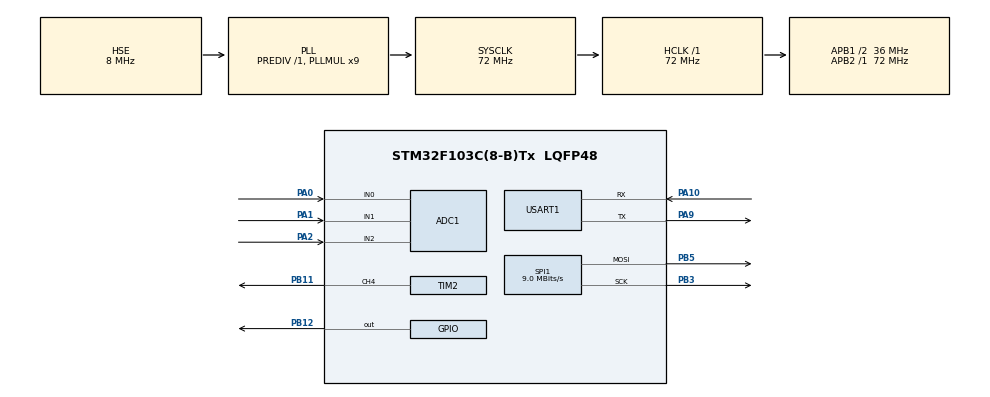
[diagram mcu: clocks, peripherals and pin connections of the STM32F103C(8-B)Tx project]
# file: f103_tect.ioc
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ADC1.Channel-1\#ChannelRegularConversion=ADC_CHANNEL_0
ADC1.Channel-2\#ChannelRegularConversion=ADC_CHANNEL_1
ADC1.Channel-3\#ChannelRegularConversion=ADC_CHANNEL_2
ADC1.Channel-4\#ChannelRegularConversion=ADC_CHANNEL_TEMPSENSOR
ADC1.Channel-5\#ChannelRegularConversion=ADC_CHANNEL_VREFINT
ADC1.ContinuousConvMode=ENABLE
ADC1.NbrOfConversion=5
ADC1.NbrOfConversionFlag=1
ADC1.Rank-1\#ChannelRegularConversion=1
ADC1.Rank-2\#ChannelRegularConversion=2
ADC1.Rank-3\#ChannelRegularConversion=3
ADC1.Rank-4\#ChannelRegularConversion=4
ADC1.Rank-5\#ChannelRegularConversion=5
ADC1.SamplingTime-1\#ChannelRegularConversion=ADC_SAMPLETIME_71CYCLES_5
ADC1.SamplingTime-2\#ChannelRegularConversion=ADC_SAMPLETIME_71CYCLES_5
ADC1.SamplingTime-3\#ChannelRegularConversion=ADC_SAMPLETIME_71CYCLES_5
ADC1.SamplingTime-4\#ChannelRegularConversion=ADC_SAMPLETIME_71CYCLES_5
ADC1.SamplingTime-5\#ChannelRegularConversion=ADC_SAMPLETIME_71CYCLES_5
ADC1.master=1
Dma.ADC1.1.Direction=DMA_PERIPH_TO_MEMORY
Dma.ADC1.1.Instance=DMA1_Channel1
Dma.ADC1.1.MemDataAlignment=DMA_MDATAALIGN_HALFWORD
Dma.ADC1.1.MemInc=DMA_MINC_ENABLE
Dma.ADC1.1.Mode=DMA_CIRCULAR
Dma.ADC1.1.PeriphDataAlignment=DMA_PDATAALIGN_HALFWORD
Dma.ADC1.1.PeriphInc=DMA_PINC_DISABLE
Dma.ADC1.1.Priority=DMA_PRIORITY_LOW
Dma.Request0=USART1_TX
Dma.Request1=ADC1
Dma.USART1_TX.0.Direction=DMA_MEMORY_TO_PERIPH
Dma.USART1_TX.0.Instance=DMA1_Channel4
Dma.USART1_TX.0.MemDataAlignment=DMA_MDATAALIGN_BYTE
Dma.USART1_TX.0.MemInc=DMA_MINC_ENABLE
Dma.USART1_TX.0.Mode=DMA_NORMAL
Dma.USART1_TX.0.PeriphDataAlignment=DMA_PDATAALIGN_BYTE
Dma.USART1_TX.0.PeriphInc=DMA_PINC_DISABLE
Dma.USART1_TX.0.Priority=DMA_PRIORITY_HIGH
Mcu.Family=STM32F1
Mcu.Name=STM32F103C(8-B)Tx
Mcu.Package=LQFP48
NVIC.DMA1_Channel1_IRQn=true\:0\:0\:false\:false\:true\:false\:true\:true
NVIC.DMA1_Channel4_IRQn=true\:0\:0\:false\:false\:true\:false\:true\:true
NVIC.PriorityGroup=NVIC_PRIORITYGROUP_4
NVIC.TIM1_UP_IRQn=true\:0\:0\:false\:false\:true\:true\:true\:true
PA0-WKUP.Signal=ADCx_IN0
PA1.Signal=ADCx_IN1
PA10.Mode=Asynchronous
PA10.Signal=USART1_RX
PA13.Mode=Serial_Wire
PA13.Signal=SYS_JTMS-SWDIO
PA14.Mode=Serial_Wire
PA14.Signal=SYS_JTCK-SWCLK
PA2.Signal=ADCx_IN2
PA9.Mode=Asynchronous
PA9.Signal=USART1_TX
PB11.Signal=S_TIM2_CH4
PB12.Signal=GPIO_Output
PB3.Mode=TX_Only_Simplex_Unidirect_Master
PB3.Signal=SPI1_SCK
PB5.Mode=TX_Only_Simplex_Unidirect_Master
PB5.Signal=SPI1_MOSI
PC14-OSC32_IN.Mode=LSE-External-Oscillator
PC14-OSC32_IN.Signal=RCC_OSC32_IN
PC15-OSC32_OUT.Mode=LSE-External-Oscillator
PC15-OSC32_OUT.Signal=RCC_OSC32_OUT
PD0-OSC_IN.Mode=HSE-External-Oscillator
PD0-OSC_IN.Signal=RCC_OSC_IN
PD1-OSC_OUT.Mode=HSE-External-Oscillator
PD1-OSC_OUT.Signal=RCC_OSC_OUT
ProjectManager.HeapSize=0x200
ProjectManager.StackSize=0x400
ProjectManager.TargetToolchain=MDK-ARM V5.32
RCC.ADCPresc=RCC_ADCPCLK2_DIV6
RCC.AHBFreq_Value=72000000
RCC.APB1CLKDivider=RCC_HCLK_DIV2
RCC.APB1Freq_Value=36000000
RCC.APB1TimFreq_Value=72000000
RCC.APB2Freq_Value=72000000
RCC.APB2TimFreq_Value=72000000
RCC.HCLKFreq_Value=72000000
RCC.PLLMUL=RCC_PLL_MUL9
RCC.PLLSourceVirtual=RCC_PLLSOURCE_HSE
RCC.SYSCLKFreq_VALUE=72000000
RCC.SYSCLKSource=RCC_SYSCLKSOURCE_PLLCLK
RCC.USBFreq_Value=72000000
SH.ADCx_IN0.0=ADC1_IN0,IN0
SH.ADCx_IN1.0=ADC1_IN1,IN1
SH.ADCx_IN2.0=ADC1_IN2,IN2
SH.S_TIM2_CH4.0=TIM2_CH4,PWM Generation4 CH4
SPI1.BaudRatePrescaler=SPI_BAUDRATEPRESCALER_8
SPI1.CalculateBaudRate=9.0 MBits/s
SPI1.Direction=SPI_DIRECTION_2LINES
SPI1.Mode=SPI_MODE_MASTER
SPI1.VirtualType=VM_MASTER
TIM1.Period=999
TIM1.Prescaler=719
TIM2.Channel-PWM\ Generation4\ CH4=TIM_CHANNEL_4
TIM2.Period=99
TIM2.Prescaler=71
USART1.VirtualMode=VM_ASYNC
VP_ADC1_TempSens_Input.Mode=IN-TempSens
VP_ADC1_Vref_Input.Mode=IN-Vrefint
VP_TIM1_VS_ClockSourceINT.Mode=Internal
board=custom

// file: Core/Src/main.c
/* USER CODE BEGIN Header */
/**
 ******************************************************************************
 * @file           : main.c
 * @brief          : Main program body
 ******************************************************************************
 * @attention
 *
 * Copyright (c) 2025 STMicroelectronics.
 * All rights reserved.
 *
 * This software is licensed under terms that can be found in the LICENSE file
 * in the root directory of this software component.
 * If no LICENSE file comes with this software, it is provided AS-IS.
 *
 ******************************************************************************
 */
/* USER CODE END Header */
#include "main.h"
#include "adc.h"
#include "dma.h"
#include "spi.h"
#include "tim.h"
#include "usart.h"
#include "gpio.h"

void SystemClock_Config(void);

/* USER CODE BEGIN 0 */
uint16_t TxData[5] = {0};

void Warning()
{
  HAL_GPIO_TogglePin(GPIOB, GPIO_PIN_12);
  __HAL_TIM_SetCompare(&htim2, TIM_CHANNEL_4, 50);
}
/* USER CODE END 0 */

int main(void)
{

  /* MCU Configuration--------------------------------------------------------*/

  /* Reset of all peripherals, Initializes the Flash interface and the Systick. */
  HAL_Init();

  /* Configure the system clock */
  SystemClock_Config();

  /* Initialize all configured peripherals */
  MX_GPIO_Init();
  MX_DMA_Init();
  MX_USART1_UART_Init();
  MX_ADC1_Init();
  MX_TIM2_Init();
  MX_SPI1_Init();
  MX_TIM1_Init();
  /* USER CODE BEGIN 2 */
  HAL_ADCEx_Calibration_Start(&hadc1);
  HAL_ADC_Start_DMA(&hadc1, (uint32_t *)TxData, 5);
  HAL_TIM_PWM_Start(&htim2, TIM_CHANNEL_4);
  HAL_TIM_Base_Start_IT(&htim1);
  /* USER CODE END 2 */

  /* Infinite loop */
  /* USER CODE BEGIN WHILE */
  while (1)
  {
	  HAL_ADC_PollForConversion(&hadc1, HAL_MAX_DELAY); // 等待ADC转换完成
    HAL_ADC_GetValue(&hadc1);
    /* USER CODE END WHILE */

  }
}

void SystemClock_Config(void)
{
  RCC_OscInitTypeDef RCC_OscInitStruct = {0};
  RCC_ClkInitTypeDef RCC_ClkInitStruct = {0};
  RCC_PeriphCLKInitTypeDef PeriphClkInit = {0};

  /** Initializes the RCC Oscillators according to the specified parameters
  * in the RCC_OscInitTypeDef structure.
  */
  RCC_OscInitStruct.OscillatorType = RCC_OSCILLATORTYPE_HSE;
  RCC_OscInitStruct.HSEState = RCC_HSE_ON;
  RCC_OscInitStruct.HSEPredivValue = RCC_HSE_PREDIV_DIV1;
  RCC_OscInitStruct.HSIState = RCC_HSI_ON;
  RCC_OscInitStruct.PLL.PLLState = RCC_PLL_ON;
  RCC_OscInitStruct.PLL.PLLSource = RCC_PLLSOURCE_HSE;
  RCC_OscInitStruct.PLL.PLLMUL = RCC_PLL_MUL9;
  if (HAL_RCC_OscConfig(&RCC_OscInitStruct) != HAL_OK)
  {
    Error_Handler();
  }

  /** Initializes the CPU, AHB and APB buses clocks
  */
  RCC_ClkInitStruct.ClockType = RCC_CLOCKTYPE_HCLK|RCC_CLOCKTYPE_SYSCLK
                              |RCC_CLOCKTYPE_PCLK1|RCC_CLOCKTYPE_PCLK2;
  RCC_ClkInitStruct.SYSCLKSource = RCC_SYSCLKSOURCE_PLLCLK;
  RCC_ClkInitStruct.AHBCLKDivider = RCC_SYSCLK_DIV1;
  RCC_ClkInitStruct.APB1CLKDivider = RCC_HCLK_DIV2;
  RCC_ClkInitStruct.APB2CLKDivider = RCC_HCLK_DIV1;

  if (HAL_RCC_ClockConfig(&RCC_ClkInitStruct, FLASH_LATENCY_2) != HAL_OK)
  {
    Error_Handler();
  }
  PeriphClkInit.PeriphClockSelection = RCC_PERIPHCLK_ADC;
  PeriphClkInit.AdcClockSelection = RCC_ADCPCLK2_DIV6;
  if (HAL_RCCEx_PeriphCLKConfig(&PeriphClkInit) != HAL_OK)
  {
    Error_Handler();
  }
}

/* USER CODE BEGIN 4 */
void HAL_TIM_PeriodElapsedCallback(TIM_HandleTypeDef *htim)
{
  if (htim == &htim1)
  {
//    HAL_UART_Transmit_DMA(&huart1,TxData, 8);
  }
}

void HAL_UART_RxCpltCallback(UART_HandleTypeDef *huart)
{
  if (huart == &huart1)
  {
  }
}

void HAL_ADC_ConvCpltCallback(ADC_HandleTypeDef *hadc)
{
  if (hadc == &hadc1)
  {
  }
}
/* USER CODE END 4 */

void Error_Handler(void)
{
  __disable_irq();
  while (1)
  {
  }
}
